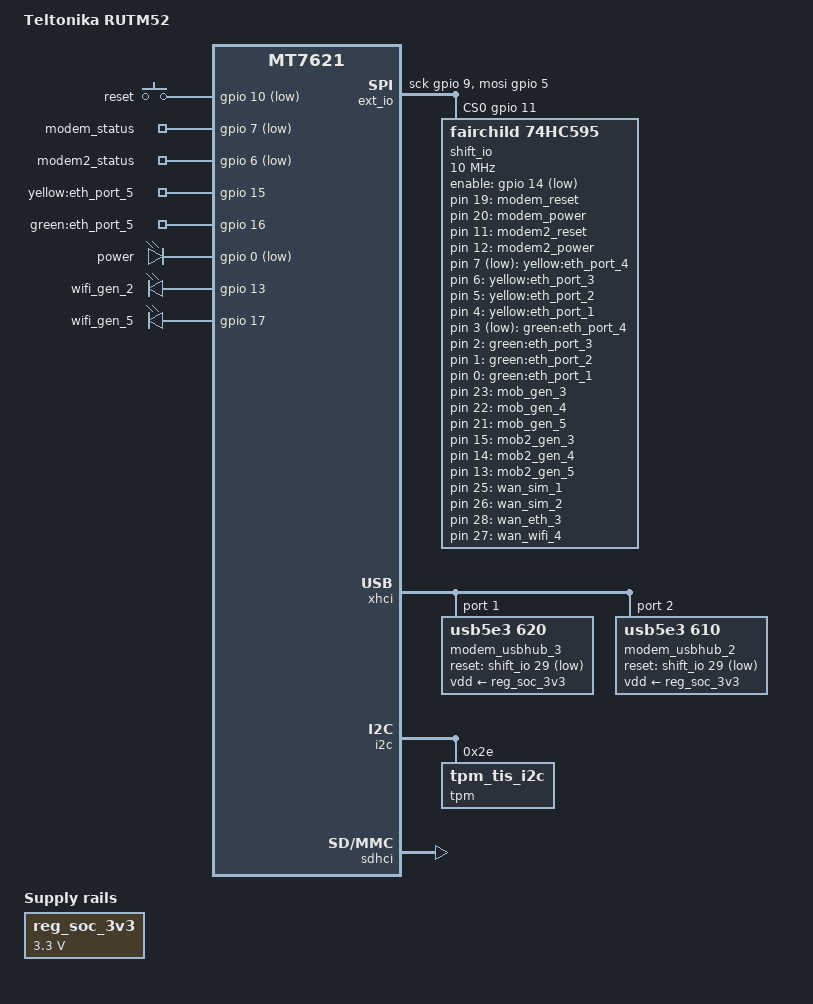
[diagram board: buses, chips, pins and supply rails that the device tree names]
#include "mt7621-teltonika-rutm-common.dtsi"

/ {
	compatible = "teltonika,rutm", "mediatek,mt7621-soc";
	model = "Teltonika RUTM52";

	ext_io {
		compatible = "spi-gpio";
		#address-cells = <1>;
		#size-cells = <0>;

		gpio-sck = <&gpio 9 GPIO_ACTIVE_HIGH>;	// 74HC595 SRCLK (Serial Clock)
		gpio-mosi = <&gpio 5 GPIO_ACTIVE_HIGH>;	// 74HC595 SER (Serial)
		cs-gpios = <&gpio 11 GPIO_ACTIVE_HIGH>;	// 74HC595 RCLK (Register Clock)
		num-chipselects = <1>;

		shift_io: shift_io@0 {
			compatible = "fairchild,74hc595";
			reg = <0>;
			gpio-controller;
			#gpio-cells = <2>;
			registers-number = <4>;
			spi-max-frequency = <10000000>;
			enable-gpios = <&gpio 14 GPIO_ACTIVE_LOW>;
		};
	};

	keys {
		compatible = "gpio-keys";

		reset {
			label = "reset";
			gpios = <&gpio 10 GPIO_ACTIVE_LOW>;
			linux,code = <KEY_RESTART>;
		};
	};

	gpio-export {
		compatible = "gpio-export";
		#size-cells = <0>;

		gpio_modem_reset_1 {
			gpio-export,name = "modem_reset";
			gpio-export,output = <0>;
			gpios = <&shift_io 19 GPIO_ACTIVE_HIGH>;
		};

		gpio_modem_power_1 {
			gpio-export,name = "modem_power";
			gpio-export,output = <1>; // tmp
			gpios = <&shift_io 20 GPIO_ACTIVE_HIGH>;
		};

		gpio_modem_status_1 {
			gpio-export,name = "modem_status";
			gpio-export,input = <0>;
			gpios = <&gpio 7 GPIO_ACTIVE_LOW>;
		};

		gpio_modem_reset_2 {
			gpio-export,name = "modem2_reset";
			gpio-export,output = <0>;
			gpios = <&shift_io 11 GPIO_ACTIVE_HIGH>;
		};

		gpio_modem_power_2 {
			gpio-export,name = "modem2_power";
			gpio-export,output = <1>; // tmp
			gpios = <&shift_io 12 GPIO_ACTIVE_HIGH>;
		};

		gpio_modem_status_2 {
			gpio-export,name = "modem2_status";
			gpio-export,input = <0>;
			gpios = <&gpio 6 GPIO_ACTIVE_LOW>;
		};

		yellow_eth_port_5 {
			gpio-export,name = "yellow:eth_port_5";
			gpio-export,output = <0>;
			gpios = <&gpio 15 GPIO_ACTIVE_HIGH>;
		};

		yellow_eth_port_4 {
			gpio-export,name = "yellow:eth_port_4";
			gpio-export,output = <1>;
			gpios = <&shift_io 7 GPIO_ACTIVE_LOW>;
		};

		yellow_eth_port_3 {
			gpio-export,name = "yellow:eth_port_3";
			gpio-export,output = <0>;
			gpios = <&shift_io 6 GPIO_ACTIVE_HIGH>;
		};

		yellow_eth_port_2 {
			gpio-export,name = "yellow:eth_port_2";
			gpio-export,output = <0>;
			gpios = <&shift_io 5 GPIO_ACTIVE_HIGH>;
		};

		yellow_eth_port_1 {
			gpio-export,name = "yellow:eth_port_1";
			gpio-export,output = <0>;
			gpios = <&shift_io 4 GPIO_ACTIVE_HIGH>;
		};

		green_eth_port_5 {
			gpio-export,name = "green:eth_port_5";
			gpio-export,output = <0>;
			gpios = <&gpio 16 GPIO_ACTIVE_HIGH>;
		};

		green_eth_port_4 {
			gpio-export,name = "green:eth_port_4";
			gpio-export,output = <1>;
			gpios = <&shift_io 3 GPIO_ACTIVE_LOW>;
		};

		green_eth_port_3 {
			gpio-export,name = "green:eth_port_3";
			gpio-export,output = <0>;
			gpios = <&shift_io 2 GPIO_ACTIVE_HIGH>;
		};

		green_eth_port_2 {
			gpio-export,name = "green:eth_port_2";
			gpio-export,output = <0>;
			gpios = <&shift_io 1 GPIO_ACTIVE_HIGH>;
		};

		green_eth_port_1 {
			gpio-export,name = "green:eth_port_1";
			gpio-export,output = <0>;
			gpios = <&shift_io 0 GPIO_ACTIVE_HIGH>;
		};

	};

	leds {
		compatible = "gpio-leds";

		led_power {
			label = "power";
			gpios = <&gpio 0 GPIO_ACTIVE_LOW>;
			default-state = "on";
			retain-state-shutdown;
		};

		led_gen_3 {
			label = "mob_gen_3";
			gpios = <&shift_io 23 GPIO_ACTIVE_HIGH>;
		};

		led_gen_4 {
			label = "mob_gen_4";
			gpios = <&shift_io 22 GPIO_ACTIVE_HIGH>;
		};

		led_gen_5 {
			label = "mob_gen_5";
			gpios = <&shift_io 21 GPIO_ACTIVE_HIGH>;
		};

		led_gen2_3 {
			label = "mob2_gen_3";
			gpios = <&shift_io 15 GPIO_ACTIVE_HIGH>;
		};

		led_gen2_4 {
			label = "mob2_gen_4";
			gpios = <&shift_io 14 GPIO_ACTIVE_HIGH>;
		};

		led_gen2_5 {
			label = "mob2_gen_5";
			gpios = <&shift_io 13 GPIO_ACTIVE_HIGH>;
		};

		led_wifi_24 {
			label = "wifi_gen_2";
			gpios = <&gpio 13 GPIO_ACTIVE_HIGH>;
		};

		led_wifi_50 {
			label = "wifi_gen_5";
			gpios = <&gpio 17 GPIO_ACTIVE_HIGH>;
		};

		led_wan_sim1 {
			label = "wan_sim_1";
			gpios = <&shift_io 25 GPIO_ACTIVE_HIGH>;
		};

		led_wan_sim2 {
			label = "wan_sim_2";
			gpios = <&shift_io 26 GPIO_ACTIVE_HIGH>;
		};

		led_wan_eth {
			label = "wan_eth_3";
			gpios = <&shift_io 28 GPIO_ACTIVE_HIGH>;
		};

		led_wan_wifi {
			label = "wan_wifi_4";
			gpios = <&shift_io 27 GPIO_ACTIVE_HIGH>;
		};

		led_ssid_1 {
			label = "mob_ssid_1";
			gpios = <&shift_io 18 GPIO_ACTIVE_HIGH>;
			linux,default-trigger = "timer"; // only
		};

		led_ssid_3 {
			label = "mob_ssid_3";
			gpios = <&shift_io 17 GPIO_ACTIVE_HIGH>;
			linux,default-trigger = "timer"; // only
		};

		led_ssid_5 {
			label = "mob_ssid_5";
			gpios = <&shift_io 16 GPIO_ACTIVE_HIGH>;
			linux,default-trigger = "timer"; //only
		};

		led_ssid2_1 {
			label = "mob2_ssid_1";
			gpios = <&shift_io 10 GPIO_ACTIVE_HIGH>;
			linux,default-trigger = "timer"; // only
		};

		led_ssid2_3 {
			label = "mob2_ssid_3";
			gpios = <&shift_io 9 GPIO_ACTIVE_HIGH>;
			linux,default-trigger = "timer"; // only
		};

		led_ssid2_5 {
			label = "mob2_ssid_5";
			gpios = <&shift_io 8 GPIO_ACTIVE_HIGH>;
			linux,default-trigger = "timer"; //only
		};
	};

	tlt_gpios { // Modify according to wiki page "DTS syntax with Libgpiod changes"
		gpiochip_info {
			hw_0 {
				hwver = <0>;
				gpiochip_count = <4>;

				gpiochip_0 = <32>; // Built-in
				gpiochip_1 = <32>; // Built-in
				gpiochip_2 = <32>; // Built-in
				gpiochip_3 = <24>; // Shift Register
			};
		};

		ioman {
			GPIO_8 {
				line_name = "GPIO_OUT_1";
			};
			GPIO_12 {
				line_name = "GPIO_IN_1";
				active_low;
			};
		};

		ledman {
			GPIO_0 {
				line_name = "LED_POWER";
			};
			GPIO_96 {
				line_name = "LED_ETH_GREEN_1";
			};
			GPIO_97 {
				line_name = "LED_ETH_GREEN_2";
			};
			GPIO_98 {
				line_name = "LED_ETH_GREEN_3";
			};
			GPIO_99 {
				line_name = "LED_ETH_GREEN_4";
			};
			GPIO_16 {
				line_name = "LED_ETH_GREEN_5";
			};
			GPIO_100 {
				line_name = "LED_ETH_YELLOW_1";
			};
			GPIO_101 {
				line_name = "LED_ETH_YELLOW_2";
			};
			GPIO_102 {
				line_name = "LED_ETH_YELLOW_3";
			};
			GPIO_103 {
				line_name = "LED_ETH_YELLOW_4";
			};
			GPIO_15 {
				line_name = "LED_ETH_YELLOW_5";
			};
			GPIO_121 {
				line_name = "LED_SIM_1";
			};
			GPIO_122 {
				line_name = "LED_SIM_2";
			};
			GPIO_123 {
				line_name = "LED_WAN_ETH";
			};
			GPIO_124 {
				line_name = "LED_WAN_WIFI";
			};
			GPIO_119 {
				line_name = "LED_TECH_GEN_3";
			};
			GPIO_118 {
				line_name = "LED_TECH_GEN_4";
			};
			GPIO_117 {
				line_name = "LED_TECH_GEN_5";
			};
			GPIO_111 {
				line_name = "LED_TECH_GEN2_3";
			};
			GPIO_110 {
				line_name = "LED_TECH_GEN2_4";
			};
			GPIO_109 {
				line_name = "LED_TECH_GEN2_5";
			};
			GPIO_114 {
				line_name = "LED_SSID_1";
			};
			GPIO_113 {
				line_name = "LED_SSID_3";
			};
			GPIO_112 {
				line_name = "LED_SSID_5";
			};
			GPIO_106 {
				line_name = "LED_SSID2_1";
			};
			GPIO_105 {
				line_name = "LED_SSID2_3";
			};
			GPIO_104 {
				line_name = "LED_SSID2_5";
			};
			GPIO_13 {
				line_name = "LED_WIFI_24";
			};
			GPIO_17 {
				line_name = "LED_WIFI_50";
			};
		};

		misc {
			GPIO_115 {
				line_name = "GPIO_MODEM_RESET_1";
			};
			GPIO_116 {
				line_name = "GPIO_MODEM_POWER_1";
			};
			GPIO_7 {
				line_name = "GPIO_MODEM_STATUS_1";
			};
			GPIO_107 {
				line_name = "GPIO_MODEM_RESET_2";
			};
			GPIO_108 {
				line_name = "GPIO_MODEM_POWER_2";
			};
			GPIO_6 {
				line_name = "GPIO_MODEM_STATUS_2";
			};
		};
	};

	reg_soc_3v3: reg-soc-3v3 {
		compatible = "regulator-fixed";
		regulator-min-microvolt = <3300000>;
		regulator-max-microvolt = <3300000>;
		regulator-name = "soc_3v3";
	};
};

&state_default {
	gpio {
		groups = "wdt", "jtag", "uart2", "uart3";
		function = "gpio";
	};
};

&switch0 {
	ports {
		port@0 {
			status = "okay";
			label = "lan1";
		};

		port@1 {
			status = "okay";
			label = "lan2";
		};

		port@2 {
			status = "okay";
			label = "lan3";
		};

		port@3 {
			status = "okay";
			label = "lan4";
		};
	};
};

&xhci {
	modem_usbhub_3: hub@1 {
		compatible = "usb5e3,620";
		reg = <1>;
		reset-gpios = <&shift_io 29 GPIO_ACTIVE_LOW>;
		vdd-supply = <&reg_soc_3v3>;
		peer-hub = <&modem_usbhub_2>;
	};

	modem_usbhub_2: hub@2 {
 		compatible = "usb5e3,610";
 		reg = <2>;
 		reset-gpios = <&shift_io 29 GPIO_ACTIVE_LOW>;
 		vdd-supply = <&reg_soc_3v3>;
 		peer-hub = <&modem_usbhub_3>;
 	};
};

&i2c {
	status = "okay";

	tpm: tpm@0x2e {
		compatible = "tpm_tis_i2c";
		reg = <0x2e>;
		status = "okay";
	};
};

&sdhci {
	status = "okay";
};

&mnfinfo {
	simpin3 {
		default = "";
	};

	simpin4 {
		default = "";
	};

	sim_cfg {
		default = "1111020_0000000_1211020_0000000";
	};
};
